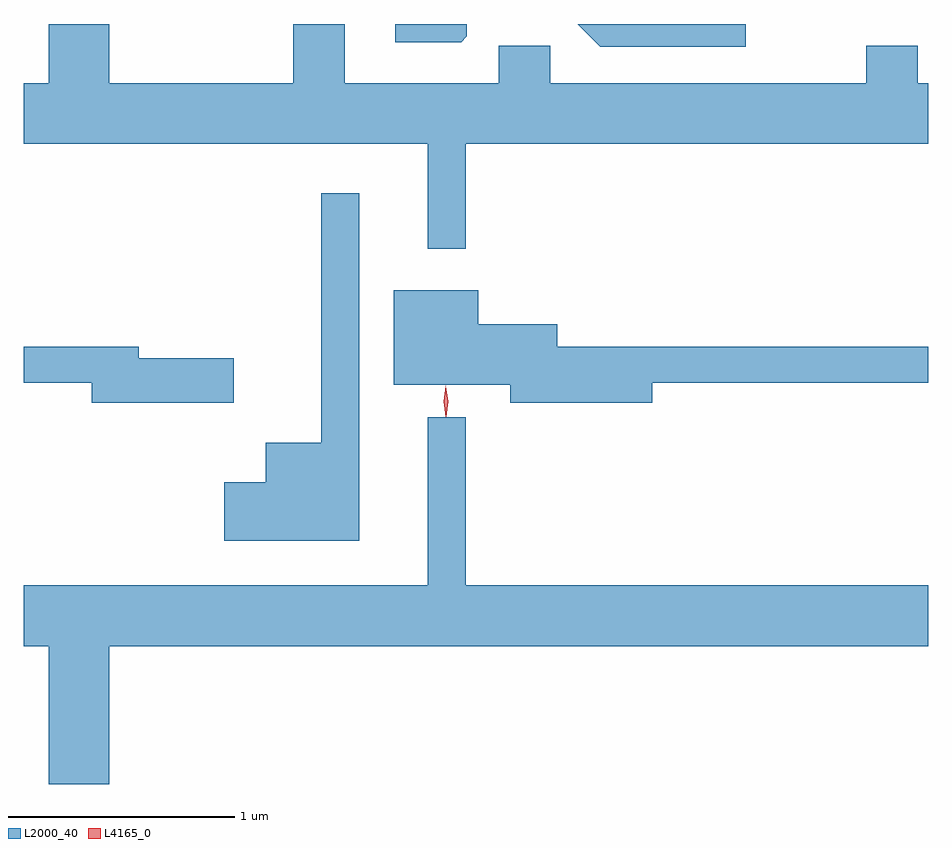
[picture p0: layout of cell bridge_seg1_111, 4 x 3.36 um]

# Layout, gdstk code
import gdstk
lib = gdstk.Library(unit=1e-6, precision=1e-09)
def P(c, l, *ps):  # polygons
    for p in ps: c.add(gdstk.Polygon(p, *l))
L2000_40 = (2000, 40)
L4165_0 = (4165, 0)

bridge_seg1_111 = lib.new_cell('bridge_seg1_111')
P(bridge_seg1_111, L2000_40, [(1375.759,926.216),(1377.805,926.216),(1377.805,926.484),(1377.759,926.484),(1377.759,926.649),(1377.531,926.649),(1377.531,926.484),(1376.134,926.484),(1376.134,926.649),(1375.906,926.649),(1375.906,926.484),(1375.224,926.484),(1375.224,926.746),(1374.996,926.746),(1374.996,926.484),(1374.184,926.484),(1374.184,926.746),(1373.916,926.746),(1373.916,926.484),(1373.805,926.484),(1373.805,926.216),(1375.591,926.216),(1375.591,925.753),(1375.759,925.753)],
  [(1376.998,926.746),(1376.254,926.746),(1376.354,926.646),(1376.998,926.646)],
  [(1375.764,926.692),(1375.764,926.746),(1375.448,926.746),(1375.448,926.666),(1375.739,926.666)],
  [(1375.289,925.998),(1375.121,925.998),(1375.121,924.894),(1374.876,924.894),(1374.876,924.719),(1374.691,924.719),(1374.691,924.461),(1375.289,924.461)],
  [(1376.584,925.161),(1377.805,925.161),(1377.805,925.319),(1376.164,925.319),(1376.164,925.419),(1375.814,925.419),(1375.814,925.569),(1375.441,925.569),(1375.441,925.151),(1375.956,925.151),(1375.956,925.071),(1376.584,925.071)],
  [(1374.734,925.269),(1374.314,925.269),(1374.314,925.319),(1373.805,925.319),(1373.805,925.161),(1374.106,925.161),(1374.106,925.071),(1374.734,925.071)],
  [(1373.805,923.996),(1373.916,923.996),(1373.916,923.386),(1374.184,923.386),(1374.184,923.996),(1377.805,923.996),(1377.805,924.264),(1375.759,924.264),(1375.759,925.008),(1375.591,925.008),(1375.591,924.264),(1373.805,924.264)])
P(bridge_seg1_111, L4165_0, [(1375.672,925.01),(1375.672,925.01),(1375.662,925.078),(1375.671,925.145),(1375.671,925.146),(1375.672,925.145),(1375.682,925.078),(1375.673,925.01)],
  [(1375.672,925.013),(1375.672,925.013),(1375.662,925.076),(1375.671,925.139),(1375.671,925.139),(1375.672,925.139),(1375.682,925.076),(1375.673,925.013)])

lib.write_gds('bridge_seg1_111.gds')
